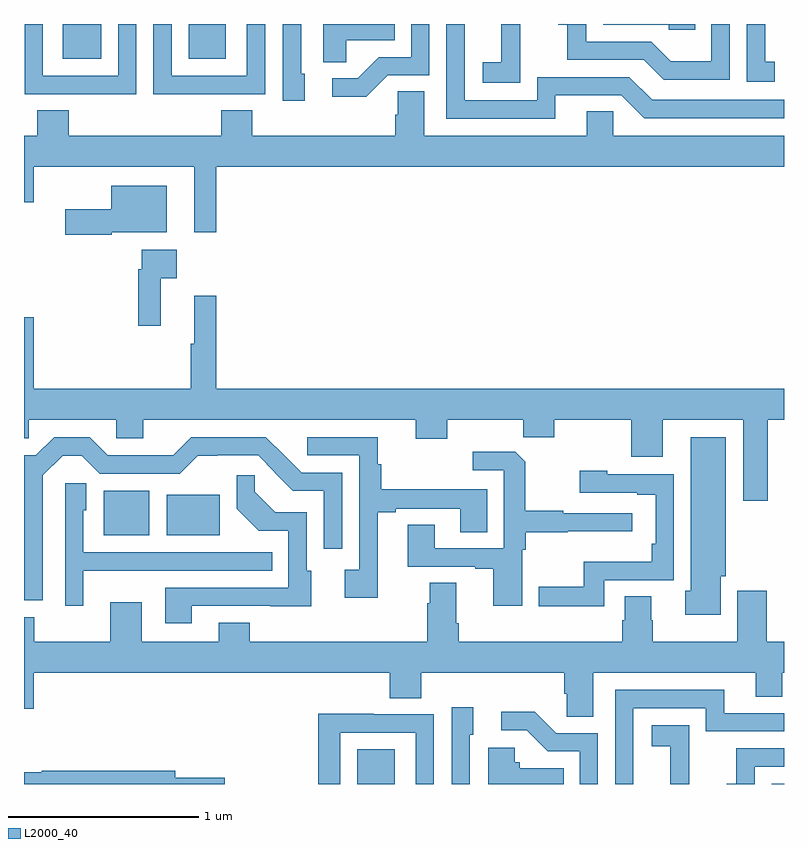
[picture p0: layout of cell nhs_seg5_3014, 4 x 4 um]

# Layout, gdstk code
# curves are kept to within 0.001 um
import gdstk
lib = gdstk.Library(unit=1e-6, precision=1e-09)
def R(c, l, rs):  # rectangles x0, y0, x1, y1
    for r in rs: c.add(gdstk.rectangle(r[:2], r[2:], *l))
def P(c, l, *ps):  # polygons
    for p in ps: c.add(gdstk.Polygon(p, *l))
L2000_40 = (2000, 40)

nhs_seg5_3014 = lib.new_cell('nhs_seg5_3014')
R(nhs_seg5_3014, L2000_40, [(286.754,898.799,286.951,898.981), (288.936,898.799,289,898.8), (285.419,900.107,285.658,900.343), (285.752,900.107,286.03,900.322), (285.203,902.615,285.406,902.799), (285.866,902.615,286.063,902.799)])
P(nhs_seg5_3014, L2000_40, [(288.714,902.799),(288.618,902.799),(288.618,902.602),(288.404,902.602),(288.3,902.706),(287.958,902.706),(287.958,902.799),(287.811,902.799),(287.811,902.795),(287.86,902.795),(287.86,902.61),(288.263,902.61),(288.368,902.505),(288.714,902.505)],
  [(286.695,902.714),(286.952,902.714),(286.952,902.799),(286.574,902.799),(286.574,902.599),(286.695,902.599)],
  [(286.477,902.538),(286.458,902.538),(286.458,902.799),(286.362,902.799),(286.362,902.394),(286.477,902.394)],
  [(287.797,902.424),(288.144,902.424),(288.264,902.304),(289,902.304),(289,902.4),(288.306,902.4),(288.186,902.52),(287.7,902.52),(287.7,902.397),(287.319,902.397),(287.319,902.799),(287.223,902.799),(287.223,902.301),(287.797,902.301)],
  [(287.613,902.695),(287.612,902.695),(287.612,902.799),(287.513,902.799),(287.513,902.599),(287.415,902.599),(287.415,902.489),(287.613,902.489)],
  [(288.533,902.799),(288.048,902.799),(288.048,902.796),(288.393,902.796),(288.393,902.769),(288.533,902.769)],
  [(286.914,902.529),(287.133,902.529),(287.133,902.799),(287.037,902.799),(287.037,902.625),(286.868,902.625),(286.757,902.514),(286.623,902.514),(286.623,902.417),(286.801,902.417)],
  [(285.591,902.799),(285.495,902.799),(285.495,902.526),(285.099,902.526),(285.099,902.799),(285.003,902.799),(285.003,902.43),(285.319,902.43),(285.319,902.429),(285.591,902.429)],
  [(288.95,902.601),(288.901,902.601),(288.901,902.799),(288.804,902.799),(288.804,902.496),(288.95,902.496)],
  [(285.953,902.43),(286.269,902.43),(286.269,902.799),(286.173,902.799),(286.173,902.526),(285.777,902.526),(285.777,902.799),(285.681,902.799),(285.681,902.429),(285.953,902.429)],
  [(286.013,902.048),(289,902.048),(289,902.212),(288.102,902.212),(288.102,902.339),(287.963,902.339),(287.963,902.212),(287.107,902.212),(287.107,902.444),(286.968,902.444),(286.968,902.321),(286.955,902.321),(286.955,902.212),(286.202,902.212),(286.202,902.345),(286.037,902.345),(286.037,902.212),(285.236,902.212),(285.236,902.345),(285.071,902.345),(285.071,902.212),(285,902.212),(285,901.86),(285.052,901.86),(285.052,902.048),(285.896,902.048),(285.896,901.704),(286.013,901.704)],
  [(285.462,901.703),(285.751,901.703),(285.751,901.948),(285.458,901.948),(285.458,901.825),(285.216,901.825),(285.216,901.691),(285.462,901.691)],
  [(285.719,901.46),(285.805,901.46),(285.805,901.612),(285.621,901.612),(285.621,901.508),(285.601,901.508),(285.601,901.212),(285.719,901.212)],
  [(288.914,900.716),(289,900.716),(289,900.88),(286.013,900.88),(286.013,901.369),(285.896,901.369),(285.896,901.116),(285.877,901.116),(285.877,900.88),(285.052,900.88),(285.052,901.255),(285,901.255),(285,900.618),(285.024,900.618),(285.024,900.716),(285.486,900.716),(285.486,900.618),(285.628,900.618),(285.628,900.716),(287.063,900.716),(287.063,900.617),(287.227,900.617),(287.227,900.716),(287.627,900.716),(287.627,900.623),(287.791,900.623),(287.791,900.716),(288.197,900.716),(288.197,900.522),(288.361,900.522),(288.361,900.716),(288.785,900.716),(288.785,900.291),(288.914,900.291)],
  [(288.667,899.892),(288.694,899.892),(288.694,900.625),(288.509,900.625),(288.509,899.816),(288.479,899.816),(288.479,899.69),(288.667,899.69)],
  [(286.861,900.229),(286.957,900.229),(286.957,900.249),(287.297,900.249),(287.297,900.124),(287.437,900.124),(287.437,900.35),(286.88,900.35),(286.88,900.482),(286.862,900.482),(286.862,900.624),(286.491,900.624),(286.491,900.528),(286.764,900.528),(286.764,899.926),(286.689,899.926),(286.689,899.778),(286.861,899.778)],
  [(285.099,900.423),(285.203,900.527),(285.304,900.527),(285.399,900.432),(285.819,900.432),(285.914,900.527),(286.233,900.528),(286.323,900.438),(286.321,900.436),(286.415,900.342),(286.578,900.342),(286.578,900.036),(286.674,900.036),(286.674,900.438),(286.461,900.438),(286.273,900.624),(285.879,900.624),(285.785,900.53),(285.68,900.53),(285.68,900.528),(285.441,900.528),(285.345,900.624),(285.158,900.624),(285.062,900.528),(285,900.528),(285,900.412),(285.002,900.412),(285.002,899.959),(285,899.959),(285,899.766),(285.099,899.766)],
  [(287.622,900.032),(287.642,900.032),(287.642,900.124),(287.861,900.124),(287.861,900.128),(288.202,900.128),(288.202,900.225),(287.837,900.225),(287.837,900.238),(287.637,900.238),(287.637,900.495),(287.585,900.547),(287.361,900.547),(287.361,900.45),(287.526,900.45),(287.526,900.039),(287.161,900.039),(287.161,900.164),(287.021,900.164),(287.021,899.943),(287.375,899.943),(287.375,899.931),(287.471,899.931),(287.471,899.736),(287.622,899.736)],
  [(288.054,899.871),(288.42,899.871),(288.42,900.429),(288.069,900.429),(288.069,900.448),(287.925,900.448),(287.925,900.333),(288.227,900.333),(288.227,900.321),(288.324,900.321),(288.324,900.064),(288.304,900.064),(288.304,899.968),(287.946,899.968),(287.946,899.837),(287.709,899.837),(287.709,899.735),(288.054,899.735)],
  [(285.883,899.736),(286.513,899.735),(286.513,899.922),(286.488,899.922),(286.488,900.228),(286.322,900.228),(286.214,900.336),(286.214,900.424),(286.119,900.424),(286.119,900.248),(286.235,900.132),(286.392,900.132),(286.392,899.832),(285.743,899.832),(285.743,899.646),(285.883,899.646)],
  [(285.313,899.921),(285.647,899.921),(285.647,899.922),(286.307,899.922),(286.307,900.018),(285.312,900.018),(285.312,900.24),(285.328,900.24),(285.328,900.383),(285.216,900.383),(285.216,899.736),(285.313,899.736)],
  [(287.843,899.275),(287.856,899.275),(287.856,899.152),(287.995,899.152),(287.995,899.384),(288.851,899.384),(288.851,899.257),(288.99,899.257),(288.99,899.384),(289,899.384),(289,899.548),(288.908,899.548),(288.908,899.815),(288.755,899.815),(288.755,899.548),(288.309,899.548),(288.309,899.661),(288.301,899.661),(288.301,899.786),(288.161,899.786),(288.161,899.661),(288.149,899.661),(288.149,899.548),(287.288,899.548),(287.288,899.644),(287.275,899.644),(287.275,899.858),(287.135,899.858),(287.135,899.75),(287.123,899.75),(287.123,899.548),(286.189,899.548),(286.189,899.647),(286.025,899.647),(286.025,899.548),(285.619,899.548),(285.619,899.755),(285.455,899.755),(285.455,899.548),(285.055,899.548),(285.055,899.677),(285,899.677),(285,899.196),(285.052,899.196),(285.052,899.384),(286.925,899.384),(286.925,899.251),(287.09,899.251),(287.09,899.384),(287.843,899.384)],
  [(288.207,899.199),(288.588,899.199),(288.588,899.076),(289,899.076),(289,899.172),(288.685,899.172),(288.685,899.295),(288.111,899.295),(288.111,898.799),(288.207,898.799)],
  [(287.346,899.058),(287.365,899.058),(287.365,899.203),(287.25,899.203),(287.25,898.799),(287.346,898.799)],
  [(288.021,899.067),(287.802,899.067),(287.689,899.18),(287.511,899.18),(287.511,899.082),(287.645,899.082),(287.756,898.971),(287.925,898.971),(287.925,898.799),(288.021,898.799)],
  [(286.665,899.07),(287.061,899.07),(287.061,898.799),(287.157,898.799),(287.157,899.166),(286.841,899.166),(286.841,899.168),(286.549,899.168),(286.549,898.799),(286.665,898.799)],
  [(288.5,898.901),(288.501,898.901),(288.501,899.107),(288.303,899.107),(288.303,898.997),(288.401,898.997),(288.401,898.799),(288.5,898.799)],
  [(287.84,898.882),(287.61,898.882),(287.61,898.914),(287.583,898.914),(287.583,898.99),(287.444,898.99),(287.444,898.799),(287.84,898.799)],
  [(288.846,898.89),(289,898.89),(289,898.986),(288.748,898.986),(288.748,898.801),(288.699,898.801),(288.699,898.799),(288.846,898.799)],
  [(286.057,898.832),(285.796,898.832),(285.796,898.868),(285.094,898.868),(285.094,898.861),(285,898.861),(285,898.799),(286.057,898.799)])

lib.write_gds('nhs_seg5_3014.gds')
